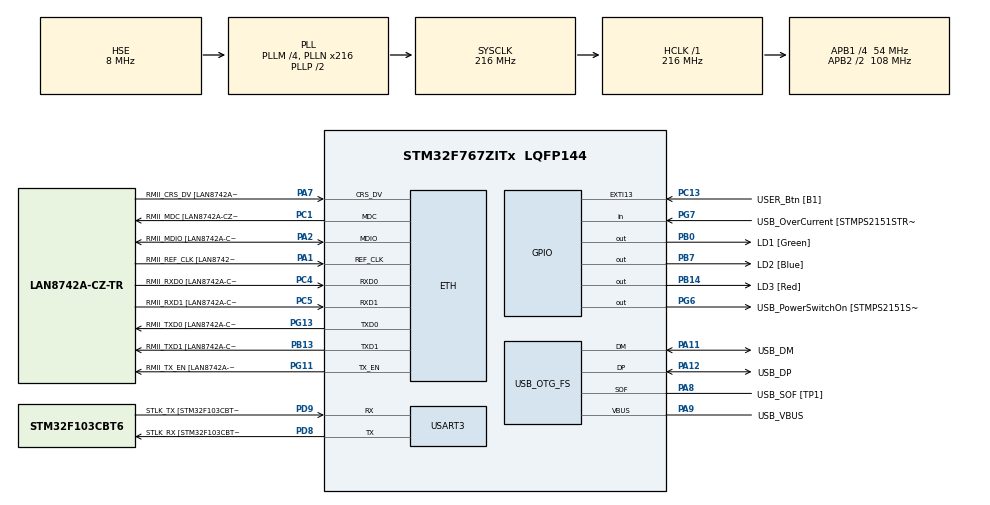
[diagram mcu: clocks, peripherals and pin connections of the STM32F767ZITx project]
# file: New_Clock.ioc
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ETH.MediaInterface=HAL_ETH_RMII_MODE
ETH.PHY_Name=LAN8742A_PHY_ADDRESS
ETH.PHY_Value=0
ETH.PhyAddress=0
Mcu.Family=STM32F7
Mcu.Name=STM32F767ZITx
Mcu.Package=LQFP144
NVIC.PriorityGroup=NVIC_PRIORITYGROUP_2
NVIC.TIM1_UP_TIM10_IRQn=true\:1\:0\:true\:false\:true\:true\:true\:true
NVIC.TIM2_IRQn=true\:2\:0\:true\:false\:true\:true\:true\:true
PA1.GPIO_Label=RMII_REF_CLK [LAN8742A-CZ-TR_REFCLK0]
PA1.Mode=RMII
PA1.Signal=ETH_REF_CLK
PA10.GPIO_Label=USB_ID
PA10.Signal=USB_OTG_FS_ID
PA11.GPIO_Label=USB_DM
PA11.Mode=Device_Only
PA11.Signal=USB_OTG_FS_DM
PA12.GPIO_Label=USB_DP
PA12.Mode=Device_Only
PA12.Signal=USB_OTG_FS_DP
PA13.GPIO_Label=TMS
PA13.Mode=Serial_Wire
PA13.Signal=SYS_JTMS-SWDIO
PA14.GPIO_Label=TCK
PA14.Mode=Serial_Wire
PA14.Signal=SYS_JTCK-SWCLK
PA2.GPIO_Label=RMII_MDIO [LAN8742A-CZ-TR_MDIO]
PA2.Mode=RMII
PA2.Signal=ETH_MDIO
PA7.GPIO_Label=RMII_CRS_DV [LAN8742A-CZ-TR_CRS_DV]
PA7.Mode=RMII
PA7.Signal=ETH_CRS_DV
PA8.GPIO_Label=USB_SOF [TP1]
PA8.Mode=Activate_SOF_FS
PA8.Signal=USB_OTG_FS_SOF
PA9.GPIO_Label=USB_VBUS
PA9.Mode=Activate_VBUS
PA9.Signal=USB_OTG_FS_VBUS
PB0.GPIO_Label=LD1 [Green]
PB0.Signal=GPIO_Output
PB13.GPIO_Label=RMII_TXD1 [LAN8742A-CZ-TR_TXD1]
PB13.Mode=RMII
PB13.Signal=ETH_TXD1
PB14.GPIO_Label=LD3 [Red]
PB14.Signal=GPIO_Output
PB3.GPIO_Label=SWO
PB3.Signal=SYS_JTDO-SWO
PB7.GPIO_Label=LD2 [Blue]
PB7.Signal=GPIO_Output
PC1.GPIO_Label=RMII_MDC [LAN8742A-CZ-TR_MDC]
PC1.Mode=RMII
PC1.Signal=ETH_MDC
PC13.GPIO_Label=USER_Btn [B1]
PC13.Signal=GPXTI13
PC14/OSC32_IN.Mode=LSE-External-Oscillator
PC14/OSC32_IN.Signal=RCC_OSC32_IN
PC15/OSC32_OUT.Mode=LSE-External-Oscillator
PC15/OSC32_OUT.Signal=RCC_OSC32_OUT
PC4.GPIO_Label=RMII_RXD0 [LAN8742A-CZ-TR_RXD0]
PC4.Mode=RMII
PC4.Signal=ETH_RXD0
PC5.GPIO_Label=RMII_RXD1 [LAN8742A-CZ-TR_RXD1]
PC5.Mode=RMII
PC5.Signal=ETH_RXD1
PD8.GPIO_Label=STLK_RX [STM32F103CBT6_PA3]
PD8.Mode=Asynchronous
PD8.Signal=USART3_TX
PD9.GPIO_Label=STLK_TX [STM32F103CBT6_PA2]
PD9.Mode=Asynchronous
PD9.Signal=USART3_RX
PG11.GPIO_Label=RMII_TX_EN [LAN8742A-CZ-TR_TXEN]
PG11.Mode=RMII
PG11.Signal=ETH_TX_EN
PG13.GPIO_Label=RMII_TXD0 [LAN8742A-CZ-TR_TXD0]
PG13.Mode=RMII
PG13.Signal=ETH_TXD0
PG6.GPIO_Label=USB_PowerSwitchOn [STMPS2151STR_EN]
PG6.Signal=GPIO_Output
PG7.GPIO_Label=USB_OverCurrent [STMPS2151STR_FAULT]
PG7.Signal=GPIO_Input
PH0/OSC_IN.GPIO_Label=MCO [STM32F103CBT6_PA8]
PH0/OSC_IN.Mode=HSE-External-Clock-Source
PH0/OSC_IN.Signal=RCC_OSC_IN
PH1/OSC_OUT.Mode=HSE-External-Clock-Source
PH1/OSC_OUT.Signal=RCC_OSC_OUT
ProjectManager.HeapSize=0x200
ProjectManager.StackSize=0x400
ProjectManager.TargetToolchain=STM32CubeIDE
RCC.48MHZClocksFreq_Value=24000000
RCC.AHBFreq_Value=216000000
RCC.APB1CLKDivider=RCC_HCLK_DIV4
RCC.APB1Freq_Value=54000000
RCC.APB1TimFreq_Value=108000000
RCC.APB2CLKDivider=RCC_HCLK_DIV2
RCC.APB2Freq_Value=108000000
RCC.APB2TimFreq_Value=216000000
RCC.CortexFreq_Value=216000000
RCC.HCLKFreq_Value=216000000
RCC.HSE_VALUE=8000000
RCC.HSI_VALUE=16000000
RCC.PLLM=4
RCC.PLLMUL=RCC_PLL_MUL9
RCC.PLLN=216
RCC.PLLQ=9
RCC.PRESCALERUSB=RCC_USBCLKSOURCE_PLL_DIV1_5
RCC.SYSCLKFreq_VALUE=216000000
RCC.SYSCLKSource=RCC_SYSCLKSOURCE_PLLCLK
RCC.SYSCLKSourceVirtual=RCC_SYSCLKSOURCE_PLLCLK
RCC.USBFreq_Value=48000000
RCC.VCOOutputFreq_Value=432000000
TIM1.Period=1000-1
TIM1.Prescaler=216-1
TIM2.Period=100000-1
TIM2.Prescaler=864-1
USART3.VirtualMode-Asynchronous=VM_ASYNC
USB_OTG_FS.VirtualMode=Device_Only
VP_TIM1_VS_ClockSourceINT.Mode=Internal
VP_TIM2_VS_ClockSourceINT.Mode=Internal
board=NUCLEO-F767ZI

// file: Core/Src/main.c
/* USER CODE BEGIN Header */
/**
  ******************************************************************************
  * @file           : main.c
  * @brief          : Main program body
  ******************************************************************************
  * @attention
  *
  * Copyright (c) 2023 STMicroelectronics.
  * All rights reserved.
  *
  * This software is licensed under terms that can be found in the LICENSE file
  * in the root directory of this software component.
  * If no LICENSE file comes with this software, it is provided AS-IS.
  *
  ******************************************************************************
  */
/* USER CODE END Header */
#include "main.h"
#include "eth.h"
#include "tim.h"
#include "usart.h"
#include "usb_otg.h"
#include "gpio.h"

/* USER CODE BEGIN PV */
uint32_t count;
uint32_t count2;
/* USER CODE END PV */

void SystemClock_Config(void);

int main(void)
{

  /* MCU Configuration--------------------------------------------------------*/

  /* Reset of all peripherals, Initializes the Flash interface and the Systick. */
  HAL_Init();

  /* USER CODE BEGIN Init */
  HAL_TIM_Base_Start_IT(&htim1);
  HAL_TIM_Base_Start_IT(&htim2);

  /* USER CODE END Init */

  /* Configure the system clock */
  SystemClock_Config();

  /* Initialize all configured peripherals */
  MX_GPIO_Init();
  MX_ETH_Init();
  MX_USART3_UART_Init();
  MX_USB_OTG_FS_PCD_Init();
  MX_TIM1_Init();
  MX_TIM2_Init();
  /* USER CODE BEGIN 2 */
  HAL_TIM_Base_Start_IT(&htim1);
   HAL_TIM_Base_Start_IT(&htim2);
  /* USER CODE END 2 */

  /* Infinite loop */
  while (1)
  {

    /* USER CODE BEGIN 3 */
	  		  displaynumber(count);
  }
  /* USER CODE END 3 */
}

void SystemClock_Config(void)
{
  RCC_OscInitTypeDef RCC_OscInitStruct = {0};
  RCC_ClkInitTypeDef RCC_ClkInitStruct = {0};

  /** Configure LSE Drive Capability
  */
  HAL_PWR_EnableBkUpAccess();

  /** Configure the main internal regulator output voltage
  */
  __HAL_RCC_PWR_CLK_ENABLE();
  __HAL_PWR_VOLTAGESCALING_CONFIG(PWR_REGULATOR_VOLTAGE_SCALE1);

  /** Initializes the RCC Oscillators according to the specified parameters
  * in the RCC_OscInitTypeDef structure.
  */
  RCC_OscInitStruct.OscillatorType = RCC_OSCILLATORTYPE_HSE;
  RCC_OscInitStruct.HSEState = RCC_HSE_BYPASS;
  RCC_OscInitStruct.PLL.PLLState = RCC_PLL_ON;
  RCC_OscInitStruct.PLL.PLLSource = RCC_PLLSOURCE_HSE;
  RCC_OscInitStruct.PLL.PLLM = 4;
  RCC_OscInitStruct.PLL.PLLN = 216;
  RCC_OscInitStruct.PLL.PLLP = RCC_PLLP_DIV2;
  RCC_OscInitStruct.PLL.PLLQ = 9;
  RCC_OscInitStruct.PLL.PLLR = 2;
  if (HAL_RCC_OscConfig(&RCC_OscInitStruct) != HAL_OK)
  {
    Error_Handler();
  }

  /** Activate the Over-Drive mode
  */
  if (HAL_PWREx_EnableOverDrive() != HAL_OK)
  {
    Error_Handler();
  }

  /** Initializes the CPU, AHB and APB buses clocks
  */
  RCC_ClkInitStruct.ClockType = RCC_CLOCKTYPE_HCLK|RCC_CLOCKTYPE_SYSCLK
                              |RCC_CLOCKTYPE_PCLK1|RCC_CLOCKTYPE_PCLK2;
  RCC_ClkInitStruct.SYSCLKSource = RCC_SYSCLKSOURCE_PLLCLK;
  RCC_ClkInitStruct.AHBCLKDivider = RCC_SYSCLK_DIV1;
  RCC_ClkInitStruct.APB1CLKDivider = RCC_HCLK_DIV4;
  RCC_ClkInitStruct.APB2CLKDivider = RCC_HCLK_DIV2;

  if (HAL_RCC_ClockConfig(&RCC_ClkInitStruct, FLASH_LATENCY_7) != HAL_OK)
  {
    Error_Handler();
  }
}

/* USER CODE BEGIN 4 */
void displaynumber(uint32_t x){
	uint32_t temp = x /1000;
	 uint32_t minute = temp / 60;
	 uint32_t second = temp % 60;
	char buf[1000];
	sprintf(buf, "%02d:%02d\r", minute,second);
	if(count2==1){
	HAL_UART_Transmit(&huart3,(uint8_t *) buf,strlen(buf),10);
	count2=0;
	}
}
/* USER CODE END 4 */

void Error_Handler(void)
{
  __disable_irq();
  while (1)
  {
  }
}
